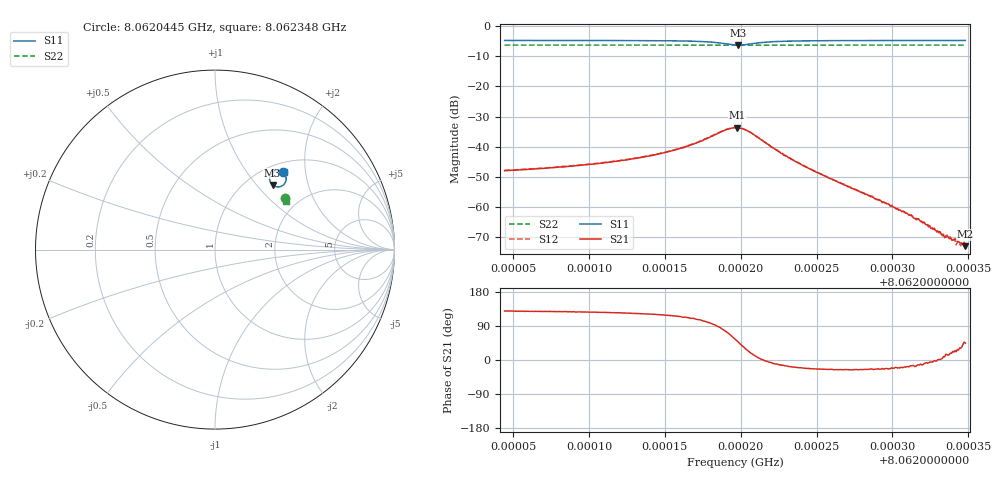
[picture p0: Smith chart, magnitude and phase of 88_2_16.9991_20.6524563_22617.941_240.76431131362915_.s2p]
#  HZ  S  RI  R  50.00
! Rohde & Schwarz Vector Network Analyzer
! Rohde-Schwarz,ZNB20-2Port,1311601062101988,3.16
! Created: UTC 3/20/2024, 10:56:01 PM
! freq[Hz]  re:S11  im:S11  re:S21  im:S21  re:S12  im:S12  re:S22  im:S22
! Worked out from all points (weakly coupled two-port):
!   401 points, 8.0620445 GHz to 8.062348 GHz, reference 50 ohm
!   highest |S21| = -33.67 dB at 8.0621978 GHz (marker M1); lowest = -72.9 dB at 8.062348 GHz (marker M2)
!   lowest |S11| = -6.3 dB at 8.0621985 GHz (marker M3), VSWR 2.86, Z = 64.8 + j60.9 ohm
!   |S11| at or under -10 dB: nowhere
!   |S22| runs from -6.4 to -6.3 dB; largest |S21 - S12| = 0.0015
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8.06204446e9  0.3796 0.4324  -0.00253 0.00309  -0.00239 0.00328  0.3873 0.2874
8.06209531e9  0.3853 0.4263  -0.00297 0.00398  -0.00273 0.0042  0.389 0.2848
8.06212491e9  0.3896 0.4205  -0.00338 0.00505  -0.0031 0.00532  0.3903 0.2831
8.06214616e9  0.3934 0.4126  -0.00374 0.00664  -0.00339 0.00689  0.3908 0.2817
8.06216361e9  0.3966 0.4  -0.0039 0.00912  -0.00332 0.00955  0.3915 0.2803
8.06218031e9  0.3914 0.3736  -0.00174 0.0146  -0.000788 0.0148  0.3913 0.2784
8.06219017e9  0.365 0.3514  0.00476 0.0186  0.00611 0.0183  0.3901 0.2775
8.06219624e9  0.3323 0.3531  0.0118 0.017  0.0131 0.0162  0.3888 0.2779
8.06219776e9  0.3243 0.3576  0.0134 0.0158  0.0146 0.0149  0.3888 0.2782
8.06219852e9  0.3204 0.3606  0.014 0.0149  0.0152 0.0141  0.3886 0.2782
8.06220459e9  0.3048 0.3918  0.0166 0.00768  0.0171 0.00664  0.3886 0.2796
8.06221598e9  0.3219 0.431  0.0118 -0.000491  0.0119 -0.00109  0.3903 0.2805
8.06222812e9  0.3424 0.4403  0.00711 -0.00173  0.00719 -0.00237  0.3917 0.28
8.06224709e9  0.3593 0.4403  0.00377 -0.00161  0.00373 -0.00187  0.393 0.279
8.06229794e9  0.3754 0.4345  0.00102 -0.000432  0.000983 -0.000474  0.3952 0.276
8.06231691e9  0.3784 0.4326  0.000626 -0.000139  0.00062 -0.000168  0.3958 0.275
8.0623336e9  0.3808 0.4311  0.000337 5.65e-05  0.000355 2.61e-05  0.3964 0.274
8.06233664e9  0.381 0.4309  0.000315 7.1e-05  0.000315 3.42e-05  0.3965 0.2738
8.06234044e9  0.3814 0.4305  0.000274 0.000103  0.000254 7.82e-05  0.3966 0.2737
8.06234271e9  0.3816 0.4304  0.000241 0.000127  0.000248 8.48e-05  0.3967 0.2737
8.06234347e9  0.3818 0.4303  0.000244 0.000118  0.000249 0.000115  0.3967 0.2735
8.06234802e9  0.3824 0.43  0.000161 0.000158  0.000184 0.00017  0.3969 0.2733
